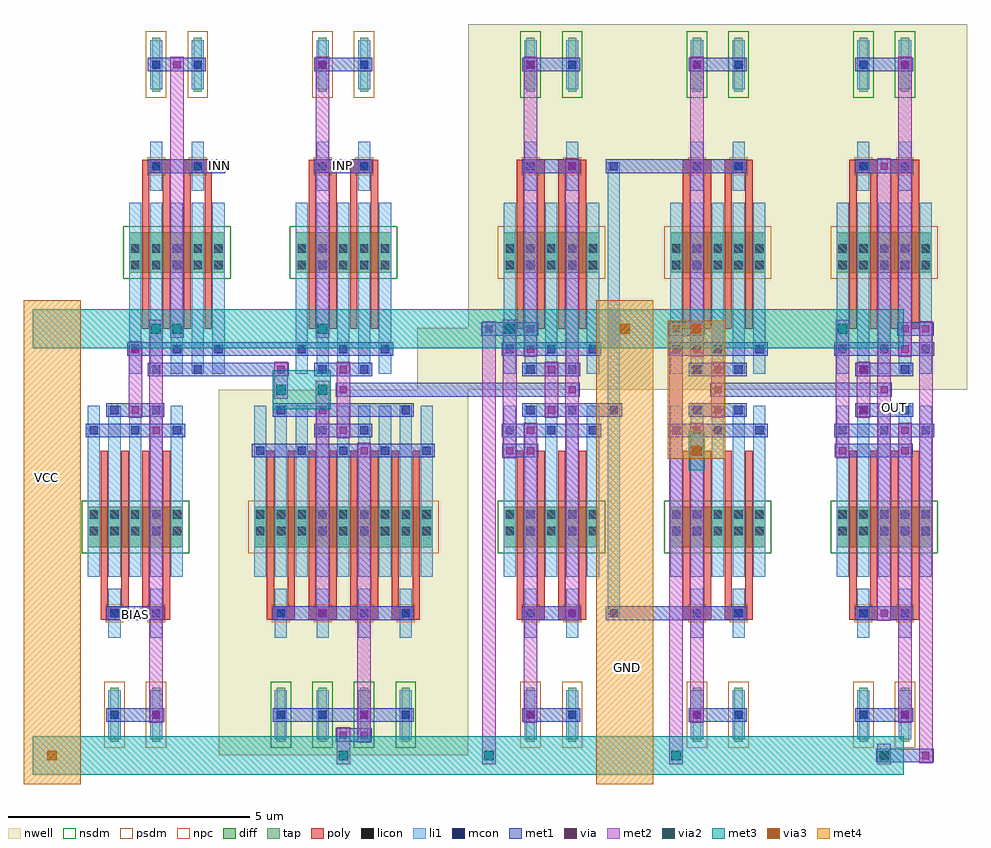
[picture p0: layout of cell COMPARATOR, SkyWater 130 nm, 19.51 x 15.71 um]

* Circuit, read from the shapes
.subckt COMPARATOR BIAS GND INN INP OUT VCC
XM1 n1 BIAS GND GND sky130_fd_pr__nfet_01v8 w=0.84 l=0.15 m=4
XM2 n2 INN n1 GND sky130_fd_pr__nfet_01v8 w=0.84 l=0.15 m=4
XM3 n3 INP n1 GND sky130_fd_pr__nfet_01v8 w=0.84 l=0.15 m=4
XM4 n4 n3 GND GND sky130_fd_pr__nfet_01v8 w=0.84 l=0.15 m=4
XM5 n5 n4 GND GND sky130_fd_pr__nfet_01v8 w=0.84 l=0.15 m=4
XM6 OUT n5 GND GND sky130_fd_pr__nfet_01v8 w=0.84 l=0.15 m=4
XM7 n2 n2 VCC VCC sky130_fd_pr__pfet_01v8 w=0.84 l=0.15 m=4
XM8 n3 n2 VCC VCC sky130_fd_pr__pfet_01v8 w=0.84 l=0.15 m=4
XM9 n4 n3 VCC VCC sky130_fd_pr__pfet_01v8 w=0.84 l=0.15 m=4
XM10 n5 n4 VCC VCC sky130_fd_pr__pfet_01v8 w=0.84 l=0.15 m=4
XM11 OUT n5 VCC VCC sky130_fd_pr__pfet_01v8 w=0.84 l=0.15 m=4
.ends

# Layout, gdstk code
import gdstk
lib = gdstk.Library(unit=1e-6, precision=1e-09)
def R(c, l, rs):  # rectangles x0, y0, x1, y1
    for r in rs: c.add(gdstk.rectangle(r[:2], r[2:], *l))
def A(c, l, x, y, w, h, nx, ny, dx, dy):  # array of equal rectangles
    R(c, l, [(x+i*dx, y+j*dy, x+i*dx+w, y+j*dy+h) for i in range(nx) for j in range(ny)])
nwell = (64, 20)
diff = (65, 20)
tap = (65, 44)
poly = (66, 20)
licon = (66, 44)
li1 = (67, 20)
mcon = (67, 44)
met1 = (68, 20)
via = (68, 44)
met2 = (69, 20)
via2 = (69, 44)
met3 = (70, 20)
via3 = (70, 44)
met4 = (71, 20)
nsdm = (93, 44)
psdm = (94, 20)
npc = (95, 20)

comparator = lib.new_cell('COMPARATOR')
R(comparator, nwell, [(3.44,0,8.6,7.56), (7.55,7.56,18.92,8.84), (8.6,8.84,18.92,15.12)])
A(comparator, diff, 9.335, 4.305, 1.97, 0.84, 3, 2, 3.44, 5.67)
R(comparator, diff, [(0.735,4.305,2.705,5.145), (4.175,4.305,7.865,5.145), (1.595,9.975,3.565,10.815), (5.035,9.975,7.005,10.815)])
A(comparator, tap, 4.645, 0.28, 0.17, 1.12, 4, 1, 0.86, 0)
R(comparator, tap, [(1.205,0.28,1.375,1.4), (2.065,0.28,2.235,1.4), (9.805,0.28,9.975,1.4), (10.665,0.28,10.835,1.4), (13.245,0.28,13.415,1.4), (14.105,0.28,14.275,1.4), (16.685,0.28,16.855,1.4), (17.545,0.28,17.715,1.4), (2.065,13.72,2.235,14.84), (2.925,13.72,3.095,14.84), (5.505,13.72,5.675,14.84), (6.365,13.72,6.535,14.84), (9.805,13.72,9.975,14.84), (10.665,13.72,10.835,14.84), (13.245,13.72,13.415,14.84), (14.105,13.72,14.275,14.84), (16.685,13.72,16.855,14.84), (17.545,13.72,17.715,14.84)])
A(comparator, poly, 4.44, 2.805, 0.58, 0.27, 4, 1, 0.86, 0)
A(comparator, poly, 1, 3.075, 0.15, 3.225, 4, 1, 0.43, 0)
A(comparator, poly, 4.44, 3.075, 0.15, 3.225, 8, 1, 0.43, 0)
A(comparator, poly, 9.6, 3.075, 0.15, 3.225, 4, 2, 0.43, 5.745)
A(comparator, poly, 13.04, 3.075, 0.15, 3.225, 4, 2, 0.43, 5.745)
A(comparator, poly, 16.48, 3.075, 0.15, 3.225, 4, 2, 0.43, 5.745)
A(comparator, poly, 1.86, 8.82, 0.15, 3.225, 4, 1, 0.43, 0)
A(comparator, poly, 5.3, 8.82, 0.15, 3.225, 4, 1, 0.43, 0)
R(comparator, poly, [(1,2.805,1.58,3.075), (1.86,2.805,2.44,3.075), (9.6,2.805,10.18,3.075), (10.46,2.805,11.04,3.075), (13.04,2.805,13.62,3.075), (13.9,2.805,14.48,3.075), (16.48,2.805,17.06,3.075), (17.34,2.805,17.92,3.075), (1.86,12.045,2.44,12.315), (2.72,12.045,3.3,12.315), (5.3,12.045,5.88,12.315), (6.16,12.045,6.74,12.315), (9.6,12.045,10.18,12.315), (10.46,12.045,11.04,12.315), (13.04,12.045,13.62,12.315), (13.9,12.045,14.48,12.315), (16.48,12.045,17.06,12.315), (17.34,12.045,17.92,12.315)])
A(comparator, licon, 4.645, 0.755, 0.17, 0.17, 4, 2, 0.86, 2.1)
A(comparator, licon, 0.775, 4.555, 0.17, 0.17, 5, 2, 0.43, 0.34)
A(comparator, licon, 4.215, 4.555, 0.17, 0.17, 9, 2, 0.43, 0.34)
A(comparator, licon, 9.375, 4.555, 0.17, 0.17, 5, 2, 0.43, 0.34)
A(comparator, licon, 12.815, 4.555, 0.17, 0.17, 5, 2, 0.43, 0.34)
A(comparator, licon, 16.255, 4.555, 0.17, 0.17, 5, 2, 0.43, 0.34)
A(comparator, licon, 1.635, 10.055, 0.17, 0.17, 5, 2, 0.43, 0.34)
A(comparator, licon, 5.075, 10.055, 0.17, 0.17, 5, 2, 0.43, 0.34)
A(comparator, licon, 9.375, 10.055, 0.17, 0.17, 5, 2, 0.43, 0.34)
A(comparator, licon, 12.815, 10.055, 0.17, 0.17, 5, 2, 0.43, 0.34)
A(comparator, licon, 16.255, 10.055, 0.17, 0.17, 5, 2, 0.43, 0.34)
R(comparator, licon, [(1.205,0.755,1.375,0.925), (2.065,0.755,2.235,0.925), (9.805,0.755,9.975,0.925), (10.665,0.755,10.835,0.925), (13.245,0.755,13.415,0.925), (14.105,0.755,14.275,0.925), (16.685,0.755,16.855,0.925), (17.545,0.755,17.715,0.925), (1.205,2.855,1.375,3.025), (2.065,2.855,2.235,3.025), (9.805,2.855,9.975,3.025), (10.665,2.855,10.835,3.025), (13.245,2.855,13.415,3.025), (14.105,2.855,14.275,3.025), (16.685,2.855,16.855,3.025), (17.545,2.855,17.715,3.025), (2.065,12.095,2.235,12.265), (2.925,12.095,3.095,12.265), (5.505,12.095,5.675,12.265), (6.365,12.095,6.535,12.265), (9.805,12.095,9.975,12.265), (10.665,12.095,10.835,12.265), (13.245,12.095,13.415,12.265), (14.105,12.095,14.275,12.265), (16.685,12.095,16.855,12.265), (17.545,12.095,17.715,12.265), (2.065,14.195,2.235,14.365), (2.925,14.195,3.095,14.365), (5.505,14.195,5.675,14.365), (6.365,14.195,6.535,14.365), (9.805,14.195,9.975,14.365), (10.665,14.195,10.835,14.365), (13.245,14.195,13.415,14.365), (14.105,14.195,14.275,14.365), (16.685,14.195,16.855,14.365), (17.545,14.195,17.715,14.365)])
A(comparator, li1, 4.605, 0.335, 0.25, 1.01, 4, 2, 0.86, 2.1)
A(comparator, li1, 0.735, 3.695, 0.25, 3.53, 5, 1, 0.43, 0)
A(comparator, li1, 4.175, 3.695, 0.25, 3.53, 9, 1, 0.43, 0)
A(comparator, li1, 9.335, 3.695, 0.25, 3.53, 5, 2, 0.43, 4.2)
A(comparator, li1, 12.775, 3.695, 0.25, 3.53, 5, 2, 0.43, 4.2)
A(comparator, li1, 16.215, 3.695, 0.25, 3.53, 5, 2, 0.43, 4.2)
A(comparator, li1, 1.595, 7.895, 0.25, 3.53, 5, 1, 0.43, 0)
A(comparator, li1, 5.035, 7.895, 0.25, 3.53, 5, 1, 0.43, 0)
R(comparator, li1, [(1.165,0.335,1.415,1.345), (2.025,0.335,2.275,1.345), (9.765,0.335,10.015,1.345), (10.625,0.335,10.875,1.345), (13.205,0.335,13.455,1.345), (14.065,0.335,14.315,1.345), (16.645,0.335,16.895,1.345), (17.505,0.335,17.755,1.345), (1.165,2.435,1.415,3.445), (2.025,2.435,2.275,3.445), (9.765,2.435,10.015,3.445), (10.625,2.435,10.875,3.445), (13.205,2.435,13.455,3.445), (14.065,2.435,14.315,3.445), (16.645,2.435,16.895,3.445), (17.505,2.435,17.755,3.445), (11.485,2.855,11.735,12.265), (2.025,11.675,2.275,12.685), (2.885,11.675,3.135,12.685), (5.465,11.675,5.715,12.685), (6.325,11.675,6.575,12.685), (9.765,11.675,10.015,12.685), (10.625,11.675,10.875,12.685), (13.205,11.675,13.455,12.685), (14.065,11.675,14.315,12.685), (16.645,11.675,16.895,12.685), (17.505,11.675,17.755,12.685), (2.025,13.775,2.275,14.785), (2.885,13.775,3.135,14.785), (5.465,13.775,5.715,14.785), (6.325,13.775,6.575,14.785), (9.765,13.775,10.015,14.785), (10.625,13.775,10.875,14.785), (13.205,13.775,13.455,14.785), (14.065,13.775,14.315,14.785), (16.645,13.775,16.895,14.785), (17.505,13.775,17.755,14.785)])
A(comparator, mcon, 4.645, 0.755, 0.17, 0.17, 4, 2, 0.86, 2.1)
A(comparator, mcon, 9.805, 2.855, 0.17, 0.17, 3, 2, 0.86, 9.24)
A(comparator, mcon, 4.215, 6.215, 0.17, 0.17, 5, 1, 0.86, 0)
A(comparator, mcon, 0.775, 6.635, 0.17, 0.17, 3, 1, 0.86, 0)
A(comparator, mcon, 9.375, 6.635, 0.17, 0.17, 3, 2, 0.86, 1.68)
A(comparator, mcon, 12.815, 6.635, 0.17, 0.17, 3, 2, 0.86, 1.68)
A(comparator, mcon, 16.255, 6.635, 0.17, 0.17, 3, 2, 0.86, 1.68)
A(comparator, mcon, 2.065, 7.055, 0.17, 0.17, 4, 1, 2.58, 0)
A(comparator, mcon, 1.635, 8.315, 0.17, 0.17, 3, 1, 0.86, 0)
A(comparator, mcon, 5.075, 8.315, 0.17, 0.17, 3, 1, 0.86, 0)
R(comparator, mcon, [(1.205,0.755,1.375,0.925), (2.065,0.755,2.235,0.925), (9.805,0.755,9.975,0.925), (10.665,0.755,10.835,0.925), (13.245,0.755,13.415,0.925), (14.105,0.755,14.275,0.925), (16.685,0.755,16.855,0.925), (17.545,0.755,17.715,0.925), (1.205,2.855,1.375,3.025), (2.065,2.855,2.235,3.025), (13.245,2.855,13.415,3.025), (14.105,2.855,14.275,3.025), (16.685,2.855,16.855,3.025), (17.545,2.855,17.715,3.025), (5.505,6.635,5.675,6.805), (6.365,6.635,6.535,6.805), (1.205,7.055,1.375,7.225), (10.665,7.055,10.835,7.225), (11.525,7.055,11.695,7.225), (13.245,7.055,13.415,7.225), (14.105,7.055,14.275,7.225), (16.685,7.055,16.855,7.225), (17.545,7.055,17.715,7.225), (2.065,7.895,2.235,8.065), (2.925,7.895,3.095,8.065), (5.505,7.895,5.675,8.065), (6.365,7.895,6.535,8.065), (9.805,7.895,9.975,8.065), (10.665,7.895,10.835,8.065), (13.245,7.895,13.415,8.065), (14.105,7.895,14.275,8.065), (16.685,7.895,16.855,8.065), (17.545,7.895,17.715,8.065), (2.065,12.095,2.235,12.265), (2.925,12.095,3.095,12.265), (5.505,12.095,5.675,12.265), (6.365,12.095,6.535,12.265), (13.245,12.095,13.415,12.265), (14.105,12.095,14.275,12.265), (16.685,12.095,16.855,12.265), (17.545,12.095,17.715,12.265), (2.065,14.195,2.235,14.365), (2.925,14.195,3.095,14.365), (5.505,14.195,5.675,14.365), (6.365,14.195,6.535,14.365), (9.805,14.195,9.975,14.365), (10.665,14.195,10.835,14.365), (13.245,14.195,13.415,14.365), (14.105,14.195,14.275,14.365), (16.685,14.195,16.855,14.365), (17.545,14.195,17.715,14.365)])
A(comparator, met1, 9.72, 0.7, 1.2, 0.28, 3, 2, 3.44, 7.14)
A(comparator, met1, 9.29, 6.58, 2.06, 0.28, 3, 2, 3.44, 1.68)
A(comparator, met1, 9.72, 14.14, 1.2, 0.28, 3, 1, 3.44, 0)
R(comparator, met1, [(17.04,-0.14,18.22,0.14), (5.86,0.28,6.61,0.56), (1.12,0.7,2.32,0.98), (4.56,0.7,7.48,0.98), (1.12,2.8,2.32,3.08), (4.56,2.8,7.48,3.08), (9.72,2.8,10.92,3.08), (11.44,2.8,14.36,3.08), (16.6,2.8,17.8,3.08), (4.13,6.16,7.91,6.44), (9.3,6.16,10.05,6.44), (16.18,6.16,17.79,6.44), (0.69,6.58,2.75,6.86), (5.42,6.58,6.62,6.86), (1.12,7,2.32,7.28), (4.56,7,7.48,7.28), (9.72,7,11.78,7.28), (13.16,7,14.36,7.28), (16.6,7,17.8,7.28), (5.86,7.42,10.91,7.7), (13.6,7.42,17.36,7.7), (1.98,7.84,4.89,8.12), (5.42,7.84,6.62,8.12), (1.55,8.26,7.05,8.54), (8.87,8.68,10.05,8.96), (12.74,8.68,13.49,8.96), (17.47,8.68,18.22,8.96), (1.98,12.04,3.58,12.32), (5.42,12.04,6.62,12.32), (9.72,12.04,10.92,12.32), (11.44,12.04,14.36,12.32), (16.6,12.04,17.8,12.32), (1.98,14.14,3.18,14.42), (5.42,14.14,6.62,14.42)])
A(comparator, via, 6.375, 0.765, 0.15, 0.15, 3, 1, 3.44, 0)
A(comparator, via, 10.675, 2.865, 0.15, 0.15, 1, 3, 0, 4.62)
A(comparator, via, 17.125, 2.865, 0.15, 0.15, 1, 3, 0, 4.62)
A(comparator, via, 2.075, 6.645, 0.15, 0.15, 3, 1, 3.87, 0)
A(comparator, via, 13.685, 7.065, 0.15, 0.15, 1, 3, 0, 0.42)
R(comparator, via, [(17.125,-0.075,17.275,0.075), (17.985,-0.075,18.135,0.075), (5.945,0.345,6.095,0.495), (6.375,0.345,6.525,0.495), (2.075,0.765,2.225,0.915), (17.555,0.765,17.705,0.915), (5.515,2.865,5.665,3.015), (6.375,6.225,6.525,6.375), (9.385,6.225,9.535,6.375), (9.815,6.225,9.965,6.375), (16.265,6.225,16.415,6.375), (17.555,6.225,17.705,6.375), (13.255,6.645,13.405,6.795), (17.555,6.645,17.705,6.795), (1.645,7.065,1.795,7.215), (5.515,7.065,5.665,7.215), (10.245,7.065,10.395,7.215), (16.695,7.065,16.845,7.215), (5.945,7.485,6.095,7.635), (4.655,7.905,4.805,8.055), (5.945,7.905,6.095,8.055), (10.245,7.905,10.395,8.055), (16.695,7.905,16.845,8.055), (1.645,8.325,1.795,8.475), (9.815,8.325,9.965,8.475), (13.255,8.325,13.405,8.475), (17.555,8.325,17.705,8.475), (8.955,8.745,9.105,8.895), (9.815,8.745,9.965,8.895), (12.825,8.745,12.975,8.895), (13.255,8.745,13.405,8.895), (17.555,8.745,17.705,8.895), (17.985,8.745,18.135,8.895), (2.505,14.205,2.655,14.355), (5.515,14.205,5.665,14.355), (9.815,14.205,9.965,14.355), (13.255,14.205,13.405,14.355), (17.555,14.205,17.705,14.355)])
R(comparator, met2, [(5.88,-0.185,6.16,0.58), (8.89,-0.185,9.17,8.98), (12.76,-0.185,13.04,8.98), (17.06,-0.185,17.34,0.24), (17.92,-0.16,18.2,8.98), (6.31,0.26,6.59,6.46), (2.01,0.68,2.29,9.005), (9.75,0.68,10.03,6.88), (13.19,0.68,13.47,6.88), (17.49,0.68,17.77,6.88), (5.45,2.78,5.73,7.745), (10.61,2.78,10.89,12.34), (17.06,2.78,17.34,12.34), (9.32,6.14,9.6,9.005), (16.2,6.14,16.48,9.005), (5.88,6.56,6.16,8.14), (1.58,6.98,1.86,8.56), (10.18,6.98,10.46,8.14), (13.62,6.98,13.9,8.14), (16.63,6.98,16.91,8.14), (4.59,7.375,4.87,8.14), (9.75,8.24,10.03,14.44), (13.19,8.24,13.47,14.44), (17.49,8.24,17.77,14.44), (2.44,8.635,2.72,14.44), (5.45,8.635,5.73,14.44)])
R(comparator, via2, [(5.92,-0.1,6.12,0.1), (8.93,-0.1,9.13,0.1), (12.8,-0.1,13,0.1), (17.1,-0.1,17.3,0.1), (13.23,6.2,13.43,6.4), (4.63,7.46,4.83,7.66), (5.49,7.46,5.69,7.66), (2.05,8.72,2.25,8.92), (2.48,8.72,2.68,8.92), (5.49,8.72,5.69,8.92), (9.36,8.72,9.56,8.92), (16.24,8.72,16.44,8.92)])
R(comparator, met3, [(-0.4,-0.4,17.6,0.4), (13.155,5.9,13.495,6.7), (4.565,7.16,5.755,7.96), (-0.4,8.42,17.6,9.22)])
R(comparator, via3, [(-0.1,-0.1,0.1,0.1), (13.22,6.2,13.42,6.4), (11.74,8.72,11.94,8.92), (13.22,8.72,13.42,8.92)])
R(comparator, met4, [(-0.59,-0.59,0.59,9.41), (11.25,-0.59,12.43,9.41), (12.73,6.135,13.91,8.985)])
A(comparator, nsdm, 4.52, 0.155, 0.42, 1.37, 4, 1, 0.86, 0)
A(comparator, nsdm, 9.21, 4.18, 2.22, 1.09, 3, 1, 3.44, 0)
R(comparator, nsdm, [(0.61,4.18,2.83,5.27), (1.47,9.85,3.69,10.94), (4.91,9.85,7.13,10.94), (9.68,13.595,10.1,14.965), (10.54,13.595,10.96,14.965), (13.12,13.595,13.54,14.965), (13.98,13.595,14.4,14.965), (16.56,13.595,16.98,14.965), (17.42,13.595,17.84,14.965)])
A(comparator, psdm, 9.21, 9.85, 2.22, 1.09, 3, 1, 3.44, 0)
R(comparator, psdm, [(1.08,0.155,1.5,1.525), (1.94,0.155,2.36,1.525), (9.68,0.155,10.1,1.525), (10.54,0.155,10.96,1.525), (13.12,0.155,13.54,1.525), (13.98,0.155,14.4,1.525), (16.56,0.155,16.98,1.525), (17.42,0.155,17.84,1.525), (4.05,4.18,7.99,5.27), (1.94,13.595,2.36,14.965), (2.8,13.595,3.22,14.965), (5.38,13.595,5.8,14.965), (6.24,13.595,6.66,14.965)])
A(comparator, npc, 4.545, 2.755, 0.37, 0.37, 4, 1, 0.86, 0)
R(comparator, npc, [(1.105,2.755,1.475,3.125), (1.965,2.755,2.335,3.125), (9.705,2.755,10.075,3.125), (10.565,2.755,10.935,3.125), (13.145,2.755,13.515,3.125), (14.005,2.755,14.375,3.125), (16.585,2.755,16.955,3.125), (17.445,2.755,17.815,3.125), (1.965,11.995,2.335,12.365), (2.825,11.995,3.195,12.365), (5.405,11.995,5.775,12.365), (6.265,11.995,6.635,12.365), (9.705,11.995,10.075,12.365), (10.565,11.995,10.935,12.365), (13.145,11.995,13.515,12.365), (14.005,11.995,14.375,12.365), (16.585,11.995,16.955,12.365), (17.445,11.995,17.815,12.365)])
comparator.add(gdstk.Label('OUT', (17.42,7.19), layer=68, texttype=5))
comparator.add(gdstk.Label('INP', (6.01,12.19), layer=68, texttype=5))
comparator.add(gdstk.Label('INN', (3.45,12.19), layer=68, texttype=5))
comparator.add(gdstk.Label('BIAS', (1.73,2.92), layer=68, texttype=5))
comparator.add(gdstk.Label('VCC', (-0.12,5.75), layer=71, texttype=5))
comparator.add(gdstk.Label('GND', (11.89,1.81), layer=71, texttype=5))

lib.write_gds('COMPARATOR.gds')
